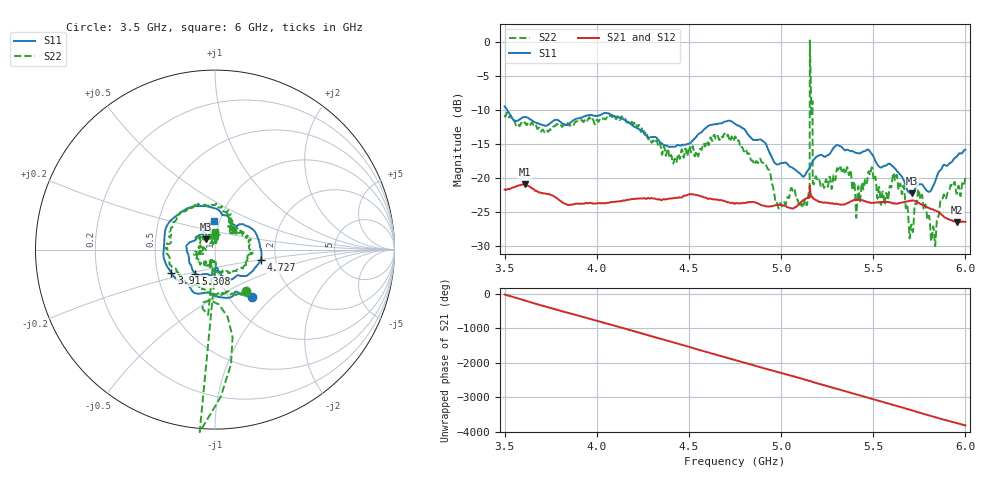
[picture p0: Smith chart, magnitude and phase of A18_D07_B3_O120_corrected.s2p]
! Created with skrf 1.9.0 (http://scikit-rf.org).
# Hz S RI R 50.0
!freq ReS11 ImS11 ReS21 ImS21 ReS12 ImS12 ReS22 ImS22
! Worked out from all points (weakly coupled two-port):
!   1601 points, 3.5 GHz to 6 GHz, reference 50 ohm
!   highest |S21| = -20.99 dB at 3.609 GHz (marker M1); lowest = -26.5 dB at 5.955 GHz (marker M2)
!   lowest |S11| = -22.3 dB at 5.709 GHz (marker M3), VSWR 1.17, Z = 45 + j5.27 ohm
!   |S11| at or under -10 dB: 3.513 GHz to end of sweep
!   |S22| runs from -30.1 to 0.2 dB; largest |S21 - S12| = 0.0011
!   S11 on the Smith chart (normalised r, x): 3.5 GHz: 1.27, -0.75; 3.913 GHz: 0.59, -0.17; 4.727 GHz: 1.67, -0.21; 5.308 GHz: 0.78, -0.22; 6 GHz: 0.94, +0.31
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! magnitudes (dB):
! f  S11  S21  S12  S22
! 3.5 GHz  -9.5  -21.7  -21.7  -10.8
! 3.609 GHz  -11.1  -21.0  -21.0  -11.8
! 3.913 GHz  -11.2  -23.8  -23.8  -11.6
! 3.917 GHz  -11.2  -23.8  -23.8  -11.5
! 4.334 GHz  -14.4  -23.2  -23.1  -15.4
! 4.727 GHz  -11.7  -23.7  -23.6  -14.3
! 4.75 GHz  -12.1  -23.8  -23.7  -13.9
! 4.928 GHz  -15.7  -24.2  -24.2  -18.7
! 4.981 GHz  -18.1  -24.0  -24.0  -24.1
! 5.109 GHz  -19.6  -23.5  -23.5  -23.7
! 5.142 GHz  -19.0  -23.0  -22.9  -23.7
! 5.158 GHz  -18.4  -21.7  -21.7  -1.7
! 5.167 GHz  -17.8  -22.8  -22.7  -10.4
! 5.184 GHz  -17.1  -23.2  -23.1  -20.2
! 5.308 GHz  -15.2  -23.9  -23.8  -18.7
! 5.584 GHz  -17.9  -23.6  -23.6  -22.4
! 5.62 GHz  -18.7  -23.8  -23.8  -20.3
! 5.709 GHz  -22.3  -23.4  -23.3  -27.2
! 5.753 GHz  -21.0  -23.8  -23.8  -22.8
! 5.827 GHz  -21.1  -24.7  -24.7  -27.2
! 5.955 GHz  -16.8  -26.5  -26.5  -22.2
! 6 GHz  -15.9  -26.5  -26.4  -19.9
